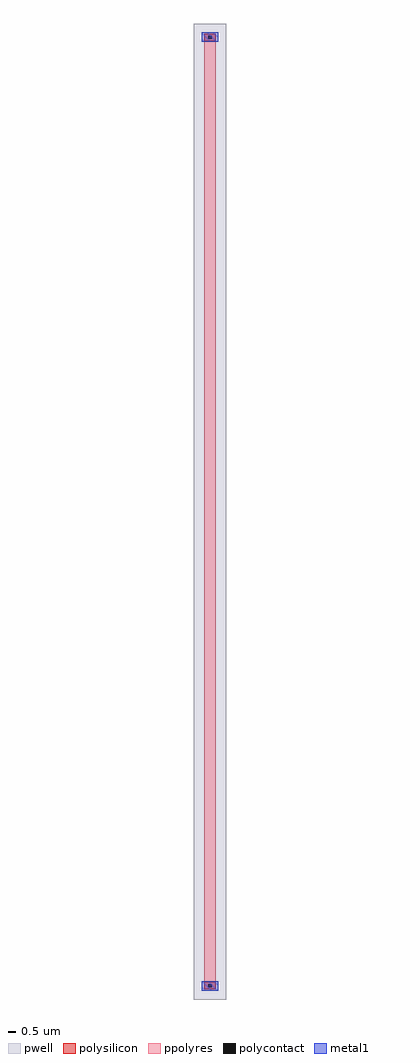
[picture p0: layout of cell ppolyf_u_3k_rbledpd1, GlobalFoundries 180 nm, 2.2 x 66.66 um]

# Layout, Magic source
magic
tech gf180mcuD
magscale 1 10
<< ppolyres >>
rect -80 -6424 80 6424
<< polysilicon >>
rect -80 6424 80 6526
rect -80 -6526 80 -6424
<< polycontact >>
rect -22 6456 22 6502
rect -22 -6502 22 -6456
<< metal1 >>
rect -110 6414 110 6544
rect -110 -6544 110 -6414
<< pwell >>
rect -220 -6666 220 6666
<< properties >>
<< end >>
